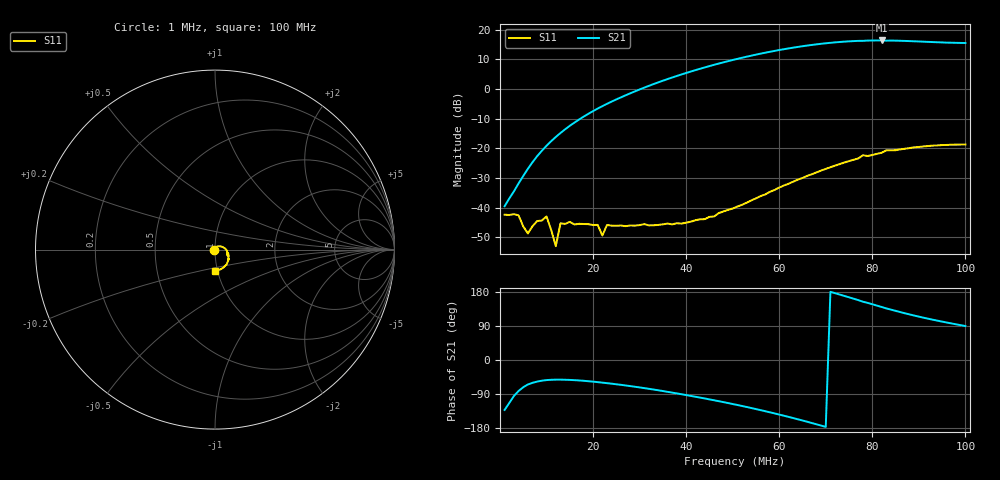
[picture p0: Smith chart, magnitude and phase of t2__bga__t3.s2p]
# HZ S RI R 50
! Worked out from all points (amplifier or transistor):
!   100 points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, 1 MHz to 100 MHz, reference 50 ohm
!   highest |S21| = 16.4 dB at 82 MHz (marker M1)
!   |S21| within 3 dB of that: 60.83 MHz to end of sweep
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1000001  -0.00765 -0.000225  -0.00708 -0.00792  0 0  0 0
4000001  -0.00741 0.000967  0.00367 -0.0255  0 0  0 0
6000001  -0.0034 0.00146  0.0195 -0.041  0 0  0 0
1e7  -0.00712 -0.000766  0.0666 -0.0884  0 0  0 0
1.2e7  -0.00214 -0.000705  0.0964 -0.1228  0 0  0 0
1.3e7  -0.00544 0.000599  0.1125 -0.1429  0 0  0 0
1.8e7  -0.00528 0.000728  0.198 -0.2816  0 0  0 0
2.2e7  -0.00335 0.000679  0.2598 -0.4454  0 0  0 0
2.3e7  -0.005 0.0012  0.2727 -0.4944  0 0  0 0
3.4e7  -0.0048 0.00183  0.228 -1.276  0 0  0 0
4.3e7  -0.00378 0.00517  -0.3525 -2.17  0 0  0 0
5.1e7  0.000656 0.0105  -1.549 -2.831  0 0  0 0
5.6e7  0.00624 0.0145  -2.66 -2.925  0 0  0 0
6e7  0.0134 0.0173  -3.678 -2.676  0 0  0 0
6.7e7  0.0322 0.0177  -5.383 -1.315  0 0  0 0
7.1e7  0.0467 0.0122  -6.019 0.0143  0 0  0 0
7.5e7  0.0612 0.00102  -6.167 1.605  0 0  0 0
7.9e7  0.0722 -0.0183  -5.725 3.211  0 0  0 0
8.2e7  0.0764 -0.0364  -5.046 4.247  0 0  0 0
8.4e7  0.0778 -0.0515  -4.476 4.806  0 0  0 0
9e7  0.0596 -0.0874  -2.623 5.771  0 0  0 0
1e8  -0.00165 -0.1167  0.0457 5.973  0 0  0 0
